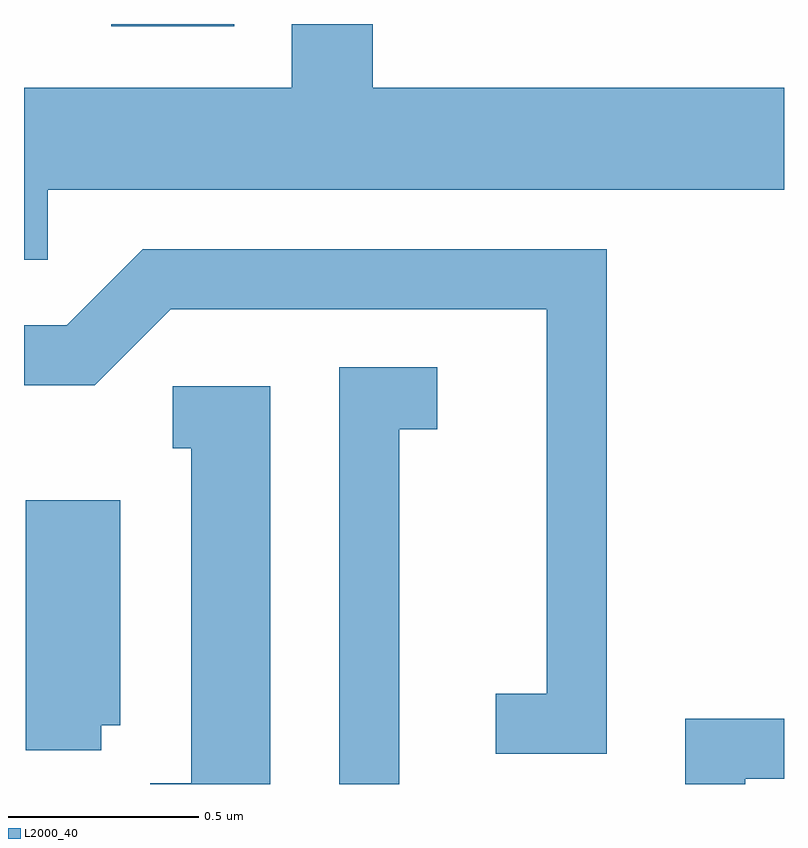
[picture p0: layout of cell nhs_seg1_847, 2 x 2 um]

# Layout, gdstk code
import gdstk
lib = gdstk.Library(unit=1e-6, precision=1e-09)
def R(c, l, rs):  # rectangles x0, y0, x1, y1
    for r in rs: c.add(gdstk.rectangle(r[:2], r[2:], *l))
def P(c, l, *ps):  # polygons
    for p in ps: c.add(gdstk.Polygon(p, *l))
L2000_40 = (2000, 40)

nhs_seg1_847 = lib.new_cell('nhs_seg1_847')
R(nhs_seg1_847, L2000_40, [(191.841,866.706,192.164,866.712)])
P(nhs_seg1_847, L2000_40, [(191.674,866.276),(193.611,866.276),(193.611,866.544),(192.529,866.544),(192.529,866.712),(192.316,866.712),(192.316,866.544),(191.611,866.544),(191.611,866.091),(191.674,866.091)],
  [(193.144,866.119),(191.924,866.119),(191.724,865.919),(191.611,865.919),(191.611,865.761),(191.797,865.761),(191.997,865.961),(192.986,865.961),(192.986,864.949),(192.853,864.949),(192.853,864.791),(193.144,864.791)],
  [(192.599,865.646),(192.698,865.646),(192.698,865.809),(192.441,865.809),(192.441,864.712),(192.599,864.712)],
  [(192.259,865.759),(192.003,865.759),(192.003,865.596),(192.051,865.596),(192.051,864.714),(191.943,864.714),(191.943,864.712),(192.259,864.712)],
  [(191.814,864.866),(191.864,864.866),(191.864,865.459),(191.616,865.459),(191.616,864.801),(191.814,864.801)],
  [(193.509,864.726),(193.611,864.726),(193.611,864.884),(193.351,864.884),(193.351,864.712),(193.509,864.712)])

lib.write_gds('nhs_seg1_847.gds')
